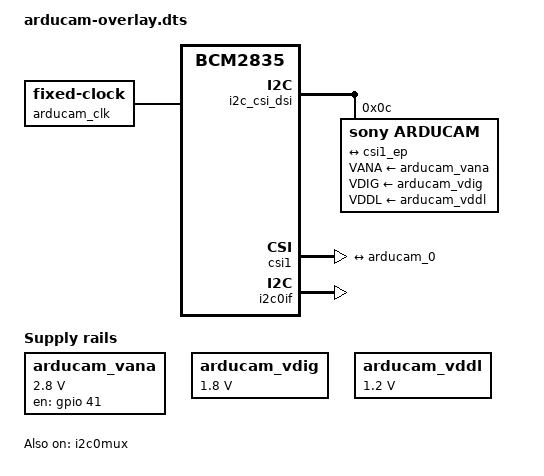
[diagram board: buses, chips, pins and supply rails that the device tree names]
// SPDX-License-Identifier: GPL-2.0-only
// Definitions for IMX219 camera module on VC I2C bus
/dts-v1/;
/plugin/;

#include <dt-bindings/gpio/gpio.h>

/{
	compatible = "brcm,bcm2835";

	fragment@0 {
		target = <&i2c_csi_dsi>;
		__overlay__ {
			#address-cells = <1>;
			#size-cells = <0>;
			status = "okay";

			arducam: arducam@0c {
				compatible = "sony,arducam";
				reg = <0x0c>;
				status = "okay";

				clocks = <&arducam_clk>;
				clock-names = "xclk";

				VANA-supply = <&arducam_vana>;	/* 2.8v */
				VDIG-supply = <&arducam_vdig>;	/* 1.8v */
				VDDL-supply = <&arducam_vddl>;	/* 1.2v */

				rotation = <180>;

				port {
					arducam_0: endpoint {
						remote-endpoint = <&csi1_ep>;
						clock-lanes = <0>;
						data-lanes = <1 2>;
						clock-noncontinuous;
						link-frequencies =
							/bits/ 64 <456000000>;
					};
				};
			};
		};
	};

	fragment@1 {
		target = <&csi1>;
		__overlay__ {
			status = "okay";

			port {
				csi1_ep: endpoint {
					remote-endpoint = <&arducam_0>;
					clock-lanes = <0>;
					data-lanes = <1 2>;
					clock-noncontinuous;
				};
			};
		};
	};

	fragment@2 {
		target = <&i2c0if>;
		__overlay__ {
			status = "okay";
		};
	};

	fragment@3 {
		target-path="/";
		__overlay__ {
			arducam_vana: fixedregulator@0 {
				compatible = "regulator-fixed";
				regulator-name = "arducam_vana";
				regulator-min-microvolt = <2800000>;
				regulator-max-microvolt = <2800000>;
				gpio = <&gpio 41 GPIO_ACTIVE_HIGH>;
				enable-active-high;
			};
			arducam_vdig: fixedregulator@1 {
				compatible = "regulator-fixed";
				regulator-name = "arducam_vdig";
				regulator-min-microvolt = <1800000>;
				regulator-max-microvolt = <1800000>;
			};
			arducam_vddl: fixedregulator@2 {
				compatible = "regulator-fixed";
				regulator-name = "arducam_vddl";
				regulator-min-microvolt = <1200000>;
				regulator-max-microvolt = <1200000>;
			};

			arducam_clk: camera-clk {
				compatible = "fixed-clock";
				#clock-cells = <0>;
				clock-frequency = <24000000>;
			};
		};
	};

	fragment@4 {
		target = <&i2c0mux>;
		__overlay__ {
			status = "okay";
		};
	};

	fragment@5 {
		target-path="/__overrides__";
		__overlay__ {
			cam0-pwdn-ctrl = <&arducam_vana>,"gpio:0";
			cam0-pwdn      = <&arducam_vana>,"gpio:4";
		};
	};

	__overrides__ {
		rotation = <&arducam>,"rotation:0";
	};
};
